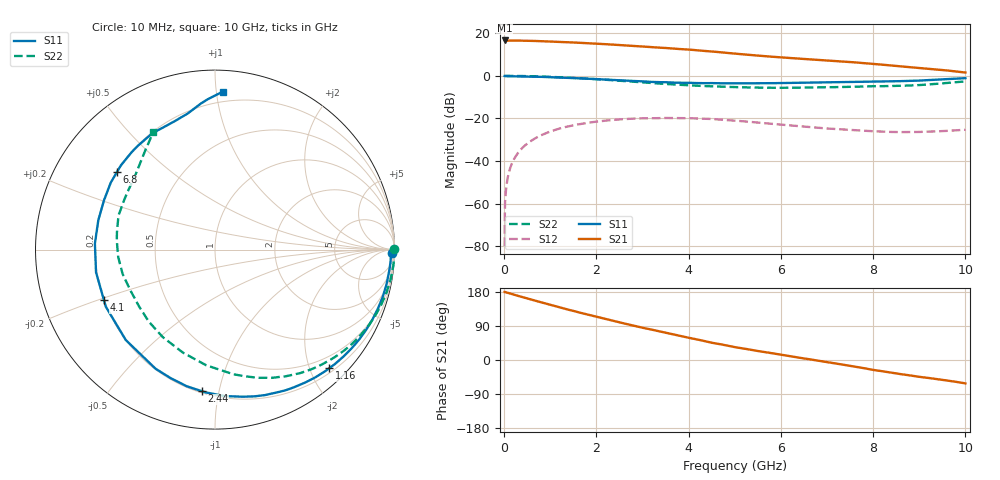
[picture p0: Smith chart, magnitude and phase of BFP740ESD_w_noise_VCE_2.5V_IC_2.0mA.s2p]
! Infineon Technologies  Discrete & RF Semiconductors
! BFP740ESD
! VCE =  2.5 V,  IC =  2.0 mA
! Common Emitter S-Parameters:  Jan 2016
# GHz  S  MA  R  50
!  f  S11  S21  S12  S22
! GHz  MAG  ANG  MAG  ANG  MAG  ANG  MAG  ANG
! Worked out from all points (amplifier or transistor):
!   233 points, 10 MHz to 10 GHz, reference 50 ohm
!   highest |S21| = 16.6 dB at 10 MHz (marker M1)
!   |S21| within 3 dB of that: start of sweep to 3.106 GHz
!   unconditionally stable (mu >= 1): 6.851 GHz to 9.59 GHz
!   at 200 MHz: K = 0.03, MSG = 28.1 dB, |S12| = -39.7 dB
!   at 1.74 GHz: K = 0.17, MSG = 18.9 dB, |S12| = -22.3 dB
!   at 10 GHz: K = 0.62, MSG = 13.4 dB, |S12| = -25.3 dB
!   lowest NFmin = 0.52 dB at 450 MHz
!   S11 on the Smith chart (normalised r, x): 10 MHz: 41, -73; 1.16 GHz: 0.28, -2.32; 2.44 GHz: 0.21, -0.89; 4.1 GHz: 0.20, -0.21; 6.8 GHz: 0.20, +0.33; 10 GHz: 0.13, +1.04
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0.01  0.9883 -1.2  6.768 179.6  0.0001 -51.5  0.9978 0.2
0.015  0.9849 -1.1  6.715 179.6  0.0005 78.4  0.9986 -0.2
0.02  0.9815 -1.0  6.662 179.6  0.0011 82.4  0.9994 -0.6
0.04  0.9807 -1.8  6.674 178.6  0.0021 86.7  0.9994 -1.1
0.09  0.9803 -3.6  6.72 176.9  0.0047 87.2  0.9989 -2.6
0.18  0.9774 -7.2  6.73 173.7  0.0094 84.4  0.9973 -5.2
0.38  0.9711 -15.1  6.689 166.6  0.0196 78.6  0.9902 -11.0
0.7  0.9532 -28.0  6.576 155.7  0.0354 69.2  0.9716 -20.2
1.16  0.9175 -46.1  6.303 140.5  0.056 56.0  0.9314 -33.1
1.68  0.8676 -66.4  5.94 123.8  0.0748 41.6  0.8731 -47.3
2.08  0.8275 -81.5  5.617 111.8  0.0858 31.4  0.8234 -57.6
2.44  0.7918 -95.4  5.35 101.1  0.0937 22.6  0.7754 -67.1
2.96  0.7438 -115.0  4.924 86.3  0.1002 10.3  0.7059 -80.7
3.4  0.7087 -130.9  4.561 74.7  0.1018 1.0  0.6548 -91.6
4.1  0.6795 -155.7  4.044 56.3  0.1003 -12.5  0.5922 -109.8
4.5  0.6748 -169.2  3.742 45.6  0.097 -20.1  0.5679 -120.8
5.1  0.668 174.9  3.254 32.1  0.0871 -28.7  0.5405 -134.5
6  0.6766 156.1  2.714 13.9  0.0713 -36.9  0.5233 -154.2
6.8  0.6962 141.8  2.364 -1.6  0.0605 -38.3  0.5354 -171.5
7.6  0.7207 126.5  2.071 -17.5  0.0528 -36.0  0.5545 170.3
8.4  0.7424 110.8  1.743 -33.6  0.0481 -30.6  0.5768 151.2
10  0.8819 87.1  1.194 -61.7  0.0542 -20.0  0.7402 117.7
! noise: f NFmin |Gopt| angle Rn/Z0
0.45  0.52  0.67  7  0.22
0.9  0.55  0.67  18  0.22
1.9  0.63  0.57  42  0.18
2.4  0.73  0.51  59  0.2
5.5  1.22  0.38  165  0.09
10  2.98  0.7  -98  1.03
